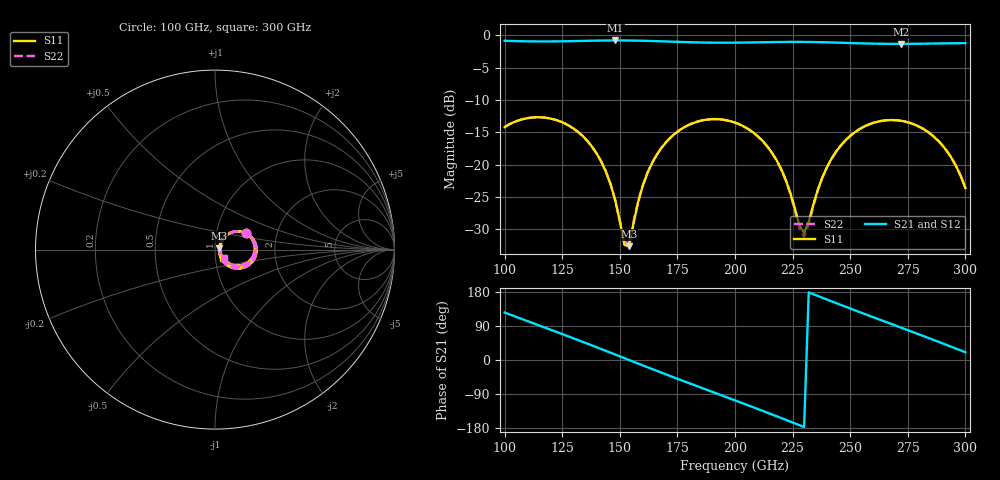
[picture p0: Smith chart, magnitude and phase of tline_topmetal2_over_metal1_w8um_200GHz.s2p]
#  GHZ S DB R 50
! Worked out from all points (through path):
!   101 points, 100 GHz to 300 GHz, reference 50 ohm
!   highest |S21| = -0.80 dB at 148 GHz (marker M1); lowest = -1.3 dB at 272 GHz (marker M2)
!   group delay of S21, straight-line fit = 6.47 ps
!   lowest |S11| = -32.6 dB at 154 GHz (marker M3), VSWR 1.05, Z = 52.2 + j0.832 ohm
!   |S11| at or under -10 dB: start of sweep to end of sweep
!   |S22| runs from -32.1 to -12.7 dB; largest |S21 - S12| = 1e-13
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100  -14.19 28.7  -0.85 125.3  -0.85 125.3  -14.19 28.6
118  -12.76 -8.1  -0.95 84.3  -0.95 84.3  -12.76 -8.1
134  -15.62 -40.1  -0.86 47.6  -0.86 47.6  -15.62 -40.0
142  -19.58 -53.5  -0.81 28.7  -0.81 28.7  -19.57 -53.1
148  -25.51 -54.9  -0.80 14.4  -0.80 14.4  -25.45 -53.8
152  -32.42 -23.4  -0.80 4.9  -0.80 4.9  -32.00 -22.0
154  -32.61 19.9  -0.81 0.1  -0.81 0.1  -32.12 18.8
160  -23.25 55.5  -0.84 -14.3  -0.84 -14.3  -23.17 54.1
168  -17.45 46.7  -0.93 -33.2  -0.93 -33.2  -17.43 45.8
184  -13.31 16.1  -1.10 -70.1  -1.10 -70.1  -13.31 15.3
200  -13.50 -15.7  -1.13 -106.5  -1.13 -106.5  -13.50 -16.6
210  -15.65 -34.5  -1.08 -129.6  -1.08 -129.6  -15.66 -35.5
218  -19.28 -46.4  -1.04 -148.3  -1.04 -148.3  -19.32 -47.8
230  -30.54 5.5  -1.02 -176.9  -1.02 -176.9  -31.17 5.5
234  -26.19 45.1  -1.04 173.6  -1.04 173.6  -26.40 46.8
240  -20.32 51.0  -1.09 159.4  -1.09 159.4  -20.37 51.9
248  -16.22 40.4  -1.17 140.6  -1.17 140.6  -16.23 40.8
258  -13.80 22.0  -1.27 117.5  -1.27 117.5  -13.80 22.1
268  -13.10 2.5  -1.32 94.7  -1.32 94.7  -13.10 2.5
272  -13.22 -5.3  -1.33 85.6  -1.33 85.6  -13.22 -5.3
288  -16.23 -35.1  -1.26 48.7  -1.26 48.7  -16.23 -35.1
300  -23.62 -44.2  -1.21 20.4  -1.21 20.4  -23.60 -44.0
